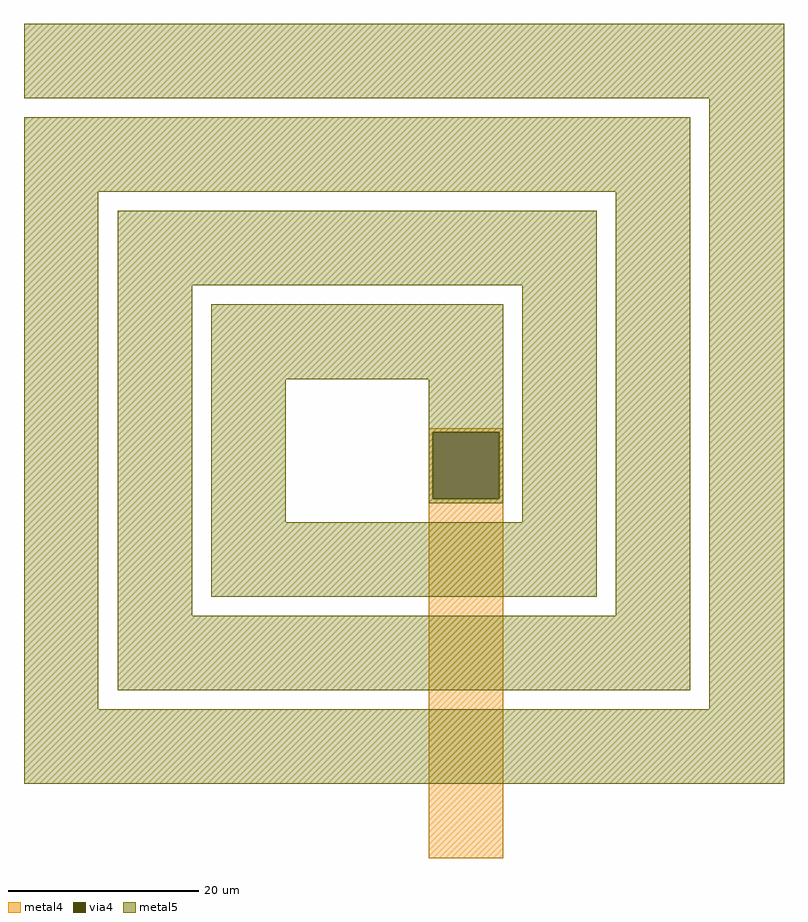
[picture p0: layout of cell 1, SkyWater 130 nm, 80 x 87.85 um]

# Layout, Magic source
magic
tech sky130A
<< metal4 >>
rect 25859 25300 26645 25340
rect 25859 24600 25900 25300
rect 26600 24600 26645 25300
rect 25859 20815 26645 24600
<< via4 >>
rect 25900 24600 26600 25300
<< metal5 >>
rect 21600 28815 29600 29600
rect 21600 27829 28615 28615
rect 21600 22384 22384 27829
rect 22585 26845 27629 27629
rect 22585 23370 23370 26845
rect 23570 25859 26645 26645
rect 23570 24354 24354 25859
rect 25859 25300 26645 25859
rect 25859 24600 25900 25300
rect 26600 24600 26645 25300
rect 25859 24554 26645 24600
rect 26845 24354 27629 26845
rect 23570 23570 27629 24354
rect 27829 23370 28615 27829
rect 22585 22585 28615 23370
rect 28815 22384 29600 28815
rect 21600 21600 29600 22384
<< end >>
